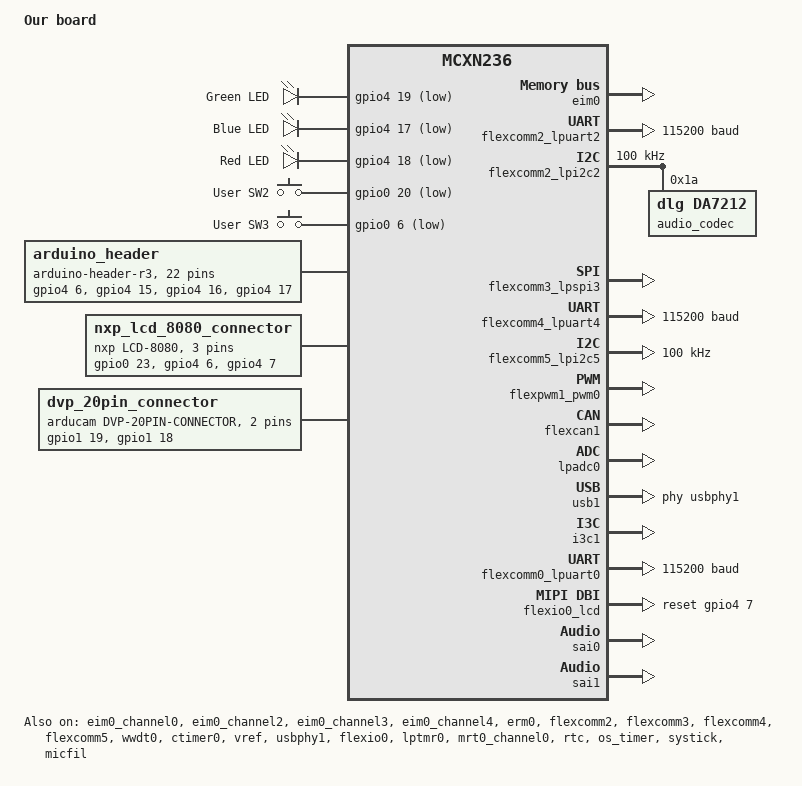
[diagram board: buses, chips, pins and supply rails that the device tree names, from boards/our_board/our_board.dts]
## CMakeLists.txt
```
cmake_minimum_required(VERSION 3.20.0)

list(APPEND BOARD_ROOT ${CMAKE_CURRENT_SOURCE_DIR}/..)
find_package(Zephyr REQUIRED)
project(my_zephyr_app)

target_sources(app PRIVATE src/main.cpp)
add_subdirectory(drivers/my_led)
```

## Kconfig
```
config APP_HEARTBEAT_PERIOD_MS
  int "App Heart Beat Period (ms)"
  default 500
  range 100 2000

source "Kconfig.zephyr"
rsource "drivers/my_led/Kconfig"
```

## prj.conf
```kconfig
CONFIG_GPIO=y
CONFIG_LOG=y
CONFIG_MY_LED=y
CONFIG_SENSOR=y
CONFIG_SHELL=y
```

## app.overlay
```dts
/{
	my_led0: my_led {
		compatible = "my,led";
		status = "okay";
		led = <&red_led>;
	};

	aliases {
    		my-led0 = &my_led0;
	};
};
```

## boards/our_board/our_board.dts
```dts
/*
 * Copyright 2024-2025 NXP
 *
 * SPDX-License-Identifier: Apache-2.0
 */

/dts-v1/;

#include <nxp/mcx/nxp_mcxn23x.dtsi>
#include "frdm_mcxn236-pinctrl.dtsi"
#include <zephyr/dt-bindings/i2c/i2c.h>
#include <zephyr/dt-bindings/gpio/arduino-header-r3.h>
#include <zephyr/dt-bindings/input/input-event-codes.h>
#include <zephyr/dt-bindings/gpio/dvp-20pin-connector.h>

/ {
	model = "Our board";
	compatible = "nxp,mcxn236", "nxp,mcx";

	chosen {
		zephyr,sram = &sram0;
		zephyr,flash = &flash;
		zephyr,flash-controller = &fmu;
		zephyr,code-partition = &slot0_partition;
		zephyr,uart-mcumgr = &flexcomm4_lpuart4;
		zephyr,console = &flexcomm4_lpuart4;
		zephyr,shell-uart = &flexcomm4_lpuart4;
		zephyr,canbus = &flexcan1;
		zephyr,edac = &erm0;
		zephyr,system-timer-companion = &lptmr0;
	};

	aliases {
		watchdog0 = &wwdt0;
		pwm-0 = &flexpwm1_pwm0;
		rtc = &rtc;
		die-temp0 = &temp0;
		led0 = &red_led;
		led1 = &green_led;
		led2 = &blue_led;
		sw0 = &user_button_2;
		sw1 = &user_button_3;
		mcuboot-button0 = &user_button_2;
	};

	leds {
		compatible = "gpio-leds";

		green_led: led_1 {
			gpios = <&gpio4 19 GPIO_ACTIVE_LOW>;
			label = "Green LED";
		};

		blue_led: led_2 {
			gpios = <&gpio4 17 GPIO_ACTIVE_LOW>;
			label = "Blue LED";
		};

		red_led: led_3 {
			gpios = <&gpio4 18 GPIO_ACTIVE_LOW>;
			label = "Red LED";
		};
	};

	gpio_keys {
		compatible = "gpio-keys";

		user_button_2: button_0 {
			label = "User SW2";
			gpios = <&gpio0 20 (GPIO_ACTIVE_LOW | GPIO_PULL_UP)>;
			zephyr,code = <INPUT_KEY_WAKEUP>;
		};

		user_button_3: button_1 {
			label = "User SW3";
			gpios = <&gpio0 6 (GPIO_ACTIVE_LOW | GPIO_PULL_UP)>;
			zephyr,code = <INPUT_KEY_0>;
		};
	};

	arduino_header: arduino-connector {
		compatible = "arduino-header-r3";
		#gpio-cells = <2>;
		gpio-map-mask = <0xffffffff 0xffffffc0>;
		gpio-map-pass-thru = <0 0x3f>;
		gpio-map = <ARDUINO_HEADER_R3_A0 0 &gpio4 6 0>,
			   <ARDUINO_HEADER_R3_A1 0 &gpio4 15 0>,
			   <ARDUINO_HEADER_R3_A2 0 &gpio4 16 0>,
			   <ARDUINO_HEADER_R3_A3 0 &gpio4 17 0>,
			   <ARDUINO_HEADER_R3_A4 0 &gpio4 12 0>,
			   <ARDUINO_HEADER_R3_A5 0 &gpio4 13 0>,
			   <ARDUINO_HEADER_R3_D0 0 &gpio4 3 0>,
			   <ARDUINO_HEADER_R3_D1 0 &gpio4 2 0>,
			   <ARDUINO_HEADER_R3_D2 0 &gpio2 0 0>,
			   <ARDUINO_HEADER_R3_D3 0 &gpio3 12 0>,
			   <ARDUINO_HEADER_R3_D4 0 &gpio0 21 0>,
			   <ARDUINO_HEADER_R3_D5 0 &gpio2 7 0>,
			   <ARDUINO_HEADER_R3_D6 0 &gpio3 17 0>,
			   <ARDUINO_HEADER_R3_D7 0 &gpio0 22 0>,
			   <ARDUINO_HEADER_R3_D8 0 &gpio0 23 0>,
			   <ARDUINO_HEADER_R3_D9 0 &gpio3 14 0>,
			   <ARDUINO_HEADER_R3_D10 0 &gpio1 3 0>,
			   <ARDUINO_HEADER_R3_D11 0 &gpio1 0 0>,
			   <ARDUINO_HEADER_R3_D12 0 &gpio1 2 0>,
			   <ARDUINO_HEADER_R3_D13 0 &gpio1 1 0>,
			   <ARDUINO_HEADER_R3_D14 0 &gpio1 16 0>,
			   <ARDUINO_HEADER_R3_D15 0 &gpio1 17 0>;
	};

	/*
	 * This node describes the GPIO pins of the LCD-PAR-S035 panel 8080 interface.
	 */
	nxp_lcd_8080_connector: lcd-8080-connector {
		compatible = "nxp,lcd-8080";
		#gpio-cells = <2>;
		gpio-map-mask = <0xffffffff 0xffffffc0>;
		gpio-map-pass-thru = <0 0x3f>;
		gpio-map = <9 0 &gpio0 23 0>,	/* Pin 9, LCD touch INT */
			   <10 0 &gpio4 6 0>,	/* Pin 10, LCD backlight control */
			   <11 0 &gpio4 7 0>;	/* Pin 11, LCD and touch reset */
	};

	dvp_20pin_connector: dvp-20pin-connector {
		compatible = "arducam,dvp-20pin-connector";
		#gpio-cells = <2>;
		gpio-map-mask = <0xffffffff 0xffffffc0>;
		gpio-map-pass-thru = <0x0 GPIO_DT_FLAGS_MASK>;
		gpio-map = <DVP_20PIN_PEN 0 &gpio1 19 0>,
			   <DVP_20PIN_PDN 0 &gpio1 18 0>;
	};
};

&sram0 {
	compatible = "mmio-sram";
	reg = <0x20000000 DT_SIZE_K(192)>;
};

&gpio4 {
	status = "okay";
};

&gpio1 {
	status = "okay";
};

&gpio0 {
	status = "okay";
};

&green_led {
	status = "okay";
};

&red_led {
	status = "okay";
};

&user_button_2 {
	status = "okay";
};

&edma0 {
	status = "okay";
};

&eim0 {
	status = "okay";
};

&eim0_channel0 {
	status = "okay";
};

&eim0_channel2 {
	status = "okay";
};

&eim0_channel3 {
	status = "okay";
};

&eim0_channel4 {
	status = "okay";
};

&erm0 {
	status = "okay";
};

&flexcomm2 {
	status = "okay";
};

/*
 * LPFLEXCOMM supports UART and I2C on the same instance, enable this for
 * LFLEXCOMM2
 */
&flexcomm2_lpuart2 {
	status = "okay";
};

&flexcomm2_lpi2c2 {
	status = "okay";
	pinctrl-0 = <&pinmux_flexcomm2_i2c>;
	pinctrl-names = "default";
	clock-frequency = <I2C_BITRATE_STANDARD>;
	#address-cells = <1>;
	#size-cells = <0>;

	/* Note: The DA7212 codec is not populated on this board by default.
	 * Refer to the board MCX_N5XX_EVK to use this sample with the same codec.
	 */
	audio_codec: da7212@1a {
		compatible = "dlg,da7212";
		reg = <0x1a>;
		clocks = <&syscon MCUX_SAI1_CLK>;
		clock-source = "MCLK";
		clock-names = "mclk";
	};
};

&flexcomm3 {
	status = "okay";
};

&flexcomm3_lpspi3 {
	status = "okay";
};

&flexcomm4 {
	status = "okay";
};

&flexcomm4_lpuart4 {
	status = "okay";
};

&flexcomm5 {
	status = "okay";
};

&flexcomm5_lpi2c5 {
	status = "okay";
};

&wwdt0 {
	status = "okay";
};

&flexpwm1_pwm0 {
	status = "okay";
};

&flexcan1 {
	status = "okay";
};

&ctimer0 {
	status = "okay";
};

&vref {
	status = "okay";
};

&lpadc0 {
	status = "okay";
};

zephyr_udc0: &usb1 {
	status = "okay";
	phy-handle = <&usbphy1>;
};

&usbphy1 {
	status = "okay";
	tx-d-cal = <4>;
	tx-cal-45-dp-ohms = <7>;
	tx-cal-45-dm-ohms = <7>;
};

&i3c1 {
	status = "okay";
};

&flexio0 {
	status = "okay";
};

&lptmr0 {
	status = "okay";
};

&mrt0_channel0 {
	status = "okay";
};

&rtc {
	status = "okay";
};

&flexcomm0_lpuart0 {
	current-speed = <115200>;
	pinctrl-0 = <&pinmux_flexcomm0_lpuart>;
	pinctrl-names = "default";
};

&flexcomm2_lpuart2 {
	current-speed = <115200>;
	pinctrl-0 = <&pinmux_flexcomm2_lpuart>;
	pinctrl-names = "default";
};

&flexcomm2_lpi2c2 {
	pinctrl-0 = <&pinmux_flexcomm2_lpi2c>;
	pinctrl-names = "default";
	clock-frequency = <I2C_BITRATE_STANDARD>;
};

nxp_8080_touch_panel_i2c: &flexcomm2_lpi2c2 {
	pinctrl-0 = <&pinmux_flexcomm2_lpi2c>;
	pinctrl-names = "default";
	clock-frequency = <I2C_BITRATE_STANDARD>;
};

&flexcomm3_lpspi3 {
	pinctrl-0 = <&pinmux_flexcomm3_lpspi>;
	pinctrl-names = "default";
};

&flexcomm4_lpuart4 {
	current-speed = <115200>;
	pinctrl-0 = <&pinmux_flexcomm4_lpuart>;
	pinctrl-names = "default";
};

&flexcomm5_lpi2c5 {
	pinctrl-0 = <&pinmux_flexcomm5_lpi2c>;
	pinctrl-names = "default";
	clock-frequency = <I2C_BITRATE_STANDARD>;
};

/* The MCXN236 can use ostimer as the kernel timer.
 * We enable it in the dts, and which specific timer
 * to use as the system timer can be controlled through
 * Kconfig option based on application requirements.
 */
&os_timer {
	status = "okay";
};

&systick {
	status = "okay";
};

&flash {
	partitions {
		compatible = "fixed-partitions";
		#address-cells = <1>;
		#size-cells = <1>;

		/*
		 * Partition sizes must be aligned
		 * to the flash memory sector size of 8KB.
		 */
		boot_partition: partition@0 {
			label = "mcuboot";
			reg = <0x00000000 DT_SIZE_K(80)>;
		};

		/* For the MCUBoot "upgrade only" method,
		 * the slot sizes must be equal.
		 */
		slot0_partition: partition@14000 {
			label = "image-0";
			reg = <0x00014000 DT_SIZE_K(440)>;
		};

		slot1_partition: partition@84000 {
			label = "image-1";
			reg = <0x0084000 DT_SIZE_K(440)>;
		};

		storage_partition: partition@f0000 {
			label = "storage";
			reg = <0x000f0000 DT_SIZE_K(64)>;
		};
	};
};

&flexpwm1_pwm0 {
	pinctrl-0 = <&pinmux_flexpwm1_pwm0>;
	pinctrl-names = "default";
};

&lpadc0 {
	pinctrl-0 = <&pinmux_lpadc0>;
	pinctrl-names = "default";
};

&flexcan1 {
	pinctrl-0 = <&pinmux_flexcan1>;
	pinctrl-names = "default";
};

zephyr_mipi_dbi_parallel: &flexio0_lcd {
	/* DMA channels 0, muxed to FlexIO TX */
	dmas = <&edma0 0 61>;
	dma-names = "tx";
	shifters-count = <8>;
	timers-count = <1>;
	enwr-pin = <28>;
	rd-pin = <27>;
	data-pin-start = <4>;
	reset-gpios = <&gpio4 7 GPIO_ACTIVE_HIGH>;
	cs-gpios = <&gpio4 14 GPIO_ACTIVE_HIGH>;
	rs-gpios = <&gpio0 24 GPIO_ACTIVE_HIGH>;
	pinctrl-0 = <&pinmux_flexio_lcd>;
	pinctrl-names = "default";
};

&i3c1 {
	pinctrl-0 = <&pinmux_i3c1>;
	pinctrl-names = "default";
};

p3t1755dp_ard_i3c_interface: &i3c1 {};

p3t1755dp_ard_i2c_interface: &flexcomm5_lpi2c5 {};

/* SmartDMA is used for video driver on this board */
&smartdma {
	/* Shields do not enable video-sdma parent node so enable it by default */
	status = "okay";
	program-mem = <0x4000000>;

	video_sdma: video-sdma {
		status = "disabled";
		compatible = "nxp,video-smartdma";
		pinctrl-0 = <&pinmux_smartdma_camera>;
		pinctrl-names = "default";
		vsync-pin = <4>;
		hsync-pin = <5>;
		pclk-pin = <7>;
	};
};

dvp_20pin_i2c: &flexcomm2_lpi2c2 {};

dvp_20pin_interface: &video_sdma {};

&sai0 {
	status = "okay";
	pinctrl-0 = <&pinmux_sai0>;
	pinctrl-names = "default";
};

&sai1 {
	status = "okay";
	pinctrl-0 = <&pinmux_sai1>;
	pinctrl-names = "default";
};

&micfil {
	status = "okay";
	pinctrl-0 = <&pinmux_micfil>;
	pinctrl-names = "default";
};
```

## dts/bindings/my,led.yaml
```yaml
description: Simple LED driver
compatible: "my,led"
properties:
  led:
    type: phandle
    required: true
    description: Reference to a LED node

include: base.yaml
```

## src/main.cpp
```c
#include <zephyr/kernel.h>
#include <zephyr/device.h>
#include <zephyr/drivers/sensor.h>
#include <zephyr/logging/log.h>
#include "my_led.h"

LOG_MODULE_REGISTER(main, LOG_LEVEL_INF);

int main(void)
{
    const struct device *led_sensor = DEVICE_DT_GET(DT_NODELABEL(my_led0));
    struct sensor_value val;

    if(!device_is_ready(led_sensor)){
        LOG_ERR("my_led sensor device not ready");
        return 0;
    }

    while(1){
        /* sensor_sample_fetch(led_sensor);
        LOG_INF("sample_fetch (LED on)");
        k_msleep(CONFIG_APP_HEARTBEAT_PERIOD_MS);

        sensor_channel_get(led_sensor, SENSOR_CHAN_ALL, &val);
        LOG_INF("channel_get (LED off)");
        k_msleep(CONFIG_APP_HEARTBEAT_PERIOD_MS);

        LOG_INF("dynamic data counter value: %d", increase_counter(led_sensor)); */
        k_msleep(1000);
    }

    return 0;

}
```
